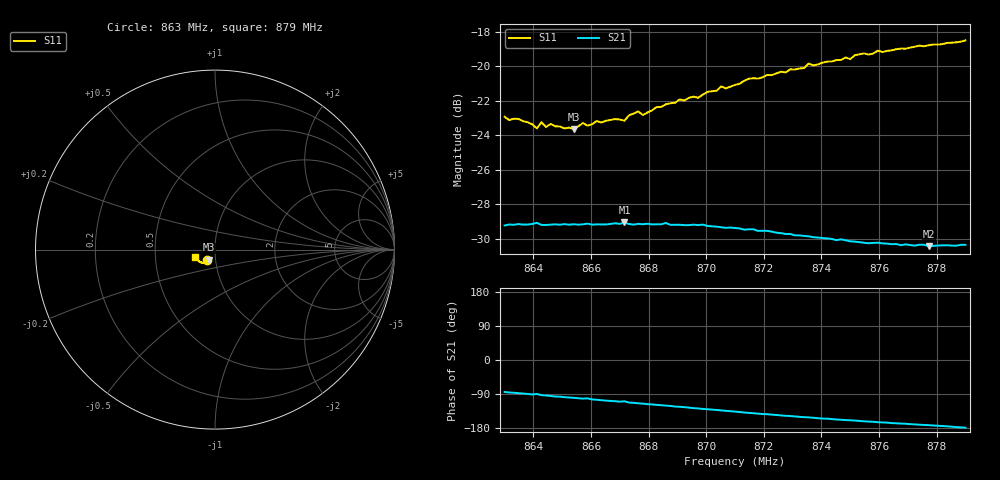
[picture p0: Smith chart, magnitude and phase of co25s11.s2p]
# HZ S RI R 50
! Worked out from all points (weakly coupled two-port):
!   101 points, 863 MHz to 879 MHz, reference 50 ohm
!   highest |S21| = -29.07 dB at 867.16 MHz (marker M1); lowest = -30.4 dB at 877.72 MHz (marker M2)
!   lowest |S11| = -23.7 dB at 865.4 MHz (marker M3), VSWR 1.14, Z = 46.4 - j5.2 ohm
!   |S11| at or under -10 dB: start of sweep to end of sweep
!   S12 and S22 are empty: the file has one direction only
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8.63e8  -0.0451 -0.0554  0.00347 -0.0343  0 0  0 0
8.638e8  -0.0415 -0.0549  0.000293 -0.0347  0 0  0 0
8.6412e8  -0.0363 -0.0552  0.000204 -0.0351  0 0  0 0
8.6428e8  -0.0394 -0.0564  -0.00162 -0.0346  0 0  0 0
8.6444e8  -0.0378 -0.0549  -0.0023 -0.0345  0 0  0 0
8.646e8  -0.0388 -0.0559  -0.00302 -0.0346  0 0  0 0
8.654e8  -0.0345 -0.0558  -0.00591 -0.0343  0 0  0 0
8.6572e8  -0.0349 -0.0589  -0.00719 -0.034  0 0  0 0
8.6588e8  -0.0332 -0.0585  -0.00678 -0.0343  0 0  0 0
8.662e8  -0.0357 -0.0595  -0.00896 -0.0336  0 0  0 0
8.6716e8  -0.0309 -0.0623  -0.0114 -0.0333  0 0  0 0
8.6764e8  -0.0358 -0.0648  -0.0143 -0.0318  0 0  0 0
8.678e8  -0.0351 -0.0632  -0.0148 -0.0315  0 0  0 0
8.6844e8  -0.0367 -0.0668  -0.0171 -0.0303  0 0  0 0
8.71e8  -0.0489 -0.0735  -0.0245 -0.0235  0 0  0 0
8.7148e8  -0.0526 -0.0756  -0.0256 -0.0218  0 0  0 0
8.734e8  -0.0652 -0.0743  -0.0281 -0.0157  0 0  0 0
8.7356e8  -0.0691 -0.0749  -0.0282 -0.0154  0 0  0 0
8.7372e8  -0.0683 -0.074  -0.0283 -0.0148  0 0  0 0
8.7644e8  -0.0927 -0.0617  -0.0296 -0.00711  0 0  0 0
8.7772e8  -0.1026 -0.0524  -0.0297 -0.00424  0 0  0 0
8.79e8  -0.1123 -0.0392  -0.0303 -0.000743  0 0  0 0
